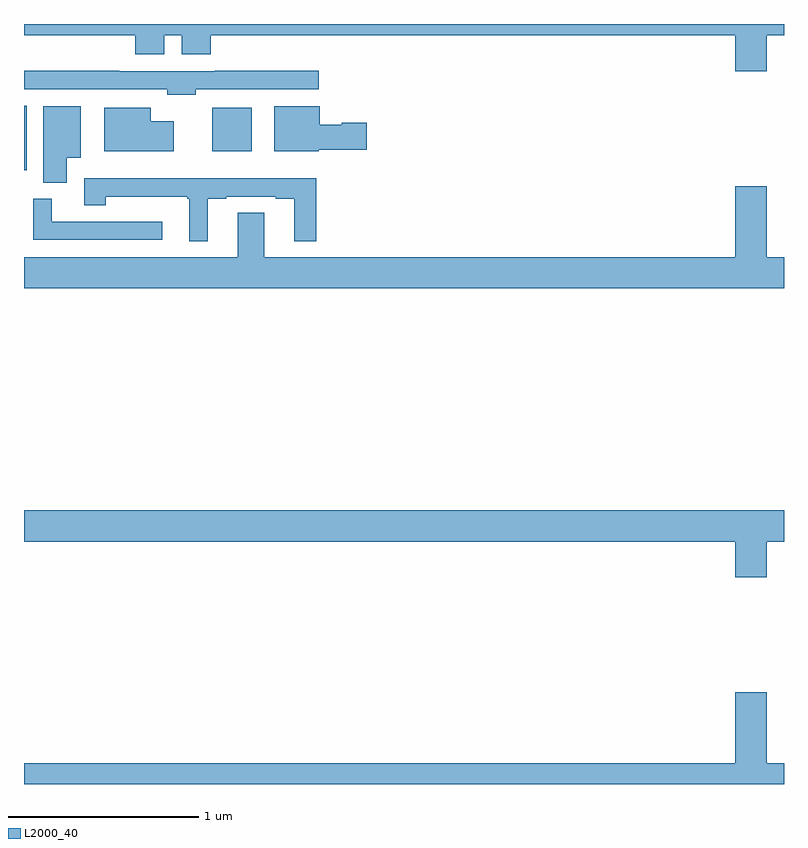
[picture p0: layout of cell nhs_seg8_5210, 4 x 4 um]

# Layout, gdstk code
import gdstk
lib = gdstk.Library(unit=1e-6, precision=1e-09)
def R(c, l, rs):  # rectangles x0, y0, x1, y1
    for r in rs: c.add(gdstk.rectangle(r[:2], r[2:], *l))
def P(c, l, *ps):  # polygons
    for p in ps: c.add(gdstk.Polygon(p, *l))
L2000_40 = (2000, 40)

nhs_seg8_5210 = lib.new_cell('nhs_seg8_5210')
R(nhs_seg8_5210, L2000_40, [(425,1109.129,425.014,1109.471), (425.99,1109.231,426.199,1109.458)])
P(nhs_seg8_5210, L2000_40, [(428.908,1109.84),(429,1109.84),(429,1109.9),(425,1109.9),(425,1109.84),(425.585,1109.84),(425.585,1109.741),(425.737,1109.741),(425.737,1109.84),(425.831,1109.84),(425.831,1109.741),(425.984,1109.741),(425.984,1109.84),(428.744,1109.84),(428.744,1109.652),(428.908,1109.652)],
  [(425.904,1109.556),(426.55,1109.556),(426.55,1109.654),(426.004,1109.654),(426.004,1109.652),(425.501,1109.652),(425.501,1109.654),(425,1109.654),(425,1109.556),(425.754,1109.556),(425.754,1109.528),(425.904,1109.528)],
  [(425.224,1109.195),(425.299,1109.195),(425.299,1109.467),(425.102,1109.467),(425.102,1109.065),(425.224,1109.065)],
  [(426.552,1109.237),(426.805,1109.237),(426.805,1109.379),(426.672,1109.379),(426.672,1109.371),(426.556,1109.371),(426.556,1109.467),(426.317,1109.467),(426.317,1109.231),(426.552,1109.231)],
  [(425.788,1109.389),(425.668,1109.389),(425.668,1109.458),(425.423,1109.458),(425.423,1109.231),(425.788,1109.231)],
  [(425.968,1108.98),(426.064,1108.98),(426.064,1108.992),(426.326,1108.992),(426.326,1108.98),(426.422,1108.98),(426.422,1108.757),(426.539,1108.757),(426.539,1109.089),(425.316,1109.089),(425.316,1108.945),(425.429,1108.945),(425.429,1108.991),(425.859,1108.991),(425.859,1108.98),(425.87,1108.98),(425.87,1108.757),(425.968,1108.757)],
  [(429,1108.672),(428.908,1108.672),(428.908,1109.047),(428.744,1109.047),(428.744,1108.672),(426.265,1108.672),(426.265,1108.907),(426.125,1108.907),(426.125,1108.672),(425,1108.672),(425,1108.508),(429,1108.508)],
  [(425.728,1108.86),(425.146,1108.86),(425.146,1108.98),(425.048,1108.98),(425.048,1108.764),(425.728,1108.764)],
  [(428.908,1107.176),(429,1107.176),(429,1107.34),(425,1107.34),(425,1107.176),(428.744,1107.176),(428.744,1106.988),(428.908,1106.988)],
  [(429,1106.008),(428.908,1106.008),(428.908,1106.383),(428.744,1106.383),(428.744,1106.008),(425,1106.008),(425,1105.9),(429,1105.9)])

lib.write_gds('nhs_seg8_5210.gds')
